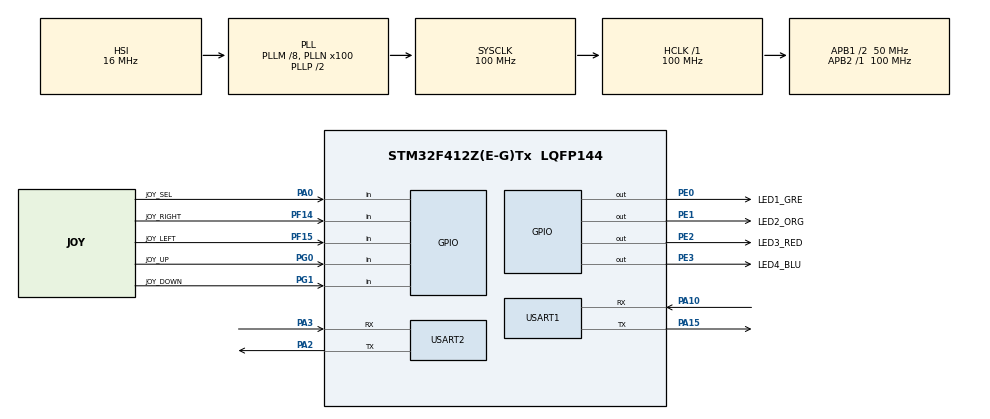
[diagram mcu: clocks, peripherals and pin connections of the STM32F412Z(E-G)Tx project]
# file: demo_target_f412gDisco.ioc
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Mcu.Family=STM32F4
Mcu.Name=STM32F412Z(E-G)Tx
Mcu.Package=LQFP144
NVIC.PriorityGroup=NVIC_PRIORITYGROUP_4
NVIC.USART1_IRQn=true\:0\:0\:false\:false\:true\:true\:true\:true
PA0.GPIO_Label=JOY_SEL
PA0.Signal=GPIO_Input
PA10.Mode=Asynchronous
PA10.Signal=USART1_RX
PA13.Mode=Trace_Asynchronous_SW
PA13.Signal=SYS_JTMS-SWDIO
PA14.Mode=Trace_Asynchronous_SW
PA14.Signal=SYS_JTCK-SWCLK
PA15.Mode=Asynchronous
PA15.Signal=USART1_TX
PA2.Mode=Asynchronous
PA2.Signal=USART2_TX
PA3.Mode=Asynchronous
PA3.Signal=USART2_RX
PB3.Mode=Trace_Asynchronous_SW
PB3.Signal=SYS_JTDO-SWO
PE0.GPIO_Label=LED1_GRE
PE0.Signal=GPIO_Output
PE1.GPIO_Label=LED2_ORG
PE1.Signal=GPIO_Output
PE2.GPIO_Label=LED3_RED
PE2.Signal=GPIO_Output
PE3.GPIO_Label=LED4_BLU
PE3.Signal=GPIO_Output
PF14.GPIO_Label=JOY_RIGHT
PF14.Signal=GPIO_Input
PF15.GPIO_Label=JOY_LEFT
PF15.Signal=GPIO_Input
PG0.GPIO_Label=JOY_UP
PG0.Signal=GPIO_Input
PG1.GPIO_Label=JOY_DOWN
PG1.Signal=GPIO_Input
PH0\ -\ OSC_IN.Mode=HSE-External-Oscillator
PH0\ -\ OSC_IN.Signal=RCC_OSC_IN
PH1\ -\ OSC_OUT.Mode=HSE-External-Oscillator
PH1\ -\ OSC_OUT.Signal=RCC_OSC_OUT
ProjectManager.HeapSize=0x200
ProjectManager.StackSize=0x400
ProjectManager.TargetToolchain=STM32CubeIDE
RCC.AHBFreq_Value=100000000
RCC.APB1CLKDivider=RCC_HCLK_DIV2
RCC.APB1Freq_Value=50000000
RCC.APB1TimFreq_Value=100000000
RCC.APB2Freq_Value=100000000
RCC.APB2TimFreq_Value=100000000
RCC.CortexFreq_Value=100000000
RCC.HCLKFreq_Value=100000000
RCC.HSE_VALUE=8000000
RCC.PLLM=8
RCC.PLLN=100
RCC.SYSCLKFreq_VALUE=100000000
RCC.SYSCLKSource=RCC_SYSCLKSOURCE_PLLCLK
RCC.USBFreq_Value=100000000
RCC.VCOOutputFreq_Value=200000000
USART1.VirtualMode=VM_ASYNC
USART2.VirtualMode=VM_ASYNC
board=custom

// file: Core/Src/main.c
/* USER CODE BEGIN Header */
/**
  ******************************************************************************
  * @file           : main.c
  * @brief          : Main program body
  ******************************************************************************
  * @attention
  *
  * <h2><center>&copy; Copyright (c) 2021 STMicroelectronics.
  * All rights reserved.</center></h2>
  *
  * This software component is licensed by ST under BSD 3-Clause license,
  * the "License"; You may not use this file except in compliance with the
  * License. You may obtain a copy of the License at:
  *                        opensource.org/licenses/BSD-3-Clause
  *
  ******************************************************************************
  */
/* USER CODE END Header */
#include "main.h"

/* USER CODE BEGIN Includes */
#include <stdio.h>
/* USER CODE END Includes */

/* USER CODE BEGIN PD */
#define JOY_BOUNCE_VAL 100
#define TEST_DATA_SIZE 10000
/* USER CODE END PD */

UART_HandleTypeDef huart1;
UART_HandleTypeDef huart2;

/* USER CODE BEGIN PV */
GPIO_TypeDef* joy_PORTS[] = {JOY_RIGHT_GPIO_Port, JOY_LEFT_GPIO_Port, JOY_UP_GPIO_Port, JOY_DOWN_GPIO_Port, JOY_SEL_GPIO_Port};
const uint16_t joy_PINS[] = {JOY_RIGHT_Pin, JOY_LEFT_Pin, JOY_UP_Pin, JOY_DOWN_Pin, JOY_SEL_Pin};

uint8_t joy_cnt[5];
uint32_t test_data[TEST_DATA_SIZE];  //0x20000128
/* USER CODE END PV */

void SystemClock_Config(void);
static void MX_GPIO_Init(void);
static void MX_USART2_UART_Init(void);
static void MX_USART1_UART_Init(void);
/* USER CODE BEGIN PFP */
void setup_TRACE(void);
void add_data_pattern(uint32_t* start,uint32_t size);
/* USER CODE END PFP */

int main(void)
{

  /* MCU Configuration--------------------------------------------------------*/

  /* Reset of all peripherals, Initializes the Flash interface and the Systick. */
  HAL_Init();

  /* USER CODE BEGIN Init */
  uint8_t data[] = "Hello world qwertzuiopasdfghjklyxcvbnm=+-*/123456789 ";
  uint8_t uart_sendonce_up = 0;
  uint8_t uart_sendonce_dwn = 0;

  /* USER CODE END Init */

  /* Configure the system clock */
  SystemClock_Config();

  /* Initialize all configured peripherals */
  MX_GPIO_Init();
  MX_USART2_UART_Init();
  MX_USART1_UART_Init();
  /* USER CODE BEGIN 2 */

  setup_TRACE();  //manual setup for testing wtih NYMD dap

  //turn off LEDs
  HAL_GPIO_WritePin( LED1_GRE_GPIO_Port,  LED1_GRE_Pin, GPIO_PIN_SET);
  HAL_GPIO_WritePin( LED2_ORG_GPIO_Port,  LED2_ORG_Pin, GPIO_PIN_RESET);   //offset LED2 for blinking effect
  HAL_GPIO_WritePin( LED3_RED_GPIO_Port,  LED3_RED_Pin, GPIO_PIN_SET);
  HAL_GPIO_WritePin( LED4_BLU_GPIO_Port,  LED4_BLU_Pin, GPIO_PIN_SET);

  printf(" Demo target for NYMD_DAP project.\r\n");

  add_data_pattern(test_data, TEST_DATA_SIZE);

  /* USER CODE END 2 */

  /* Infinite loop */
  /* USER CODE BEGIN WHILE */
  while (1)
  {

	  /* read buttons, right,left,up,down,center*/
	  for (int i=0; i<5; i++){
		  if (HAL_GPIO_ReadPin(joy_PORTS[i], joy_PINS[i]) && joy_cnt[i] < JOY_BOUNCE_VAL){
			  joy_cnt[i]++;
		  }else if (joy_cnt[i] > 0){
			  joy_cnt[i]--;
		  }
	  }

	  //joy up
	  if (joy_cnt[2] == JOY_BOUNCE_VAL){
		  HAL_GPIO_WritePin(LED1_GRE_GPIO_Port, LED1_GRE_Pin, GPIO_PIN_RESET);
		  if (uart_sendonce_up == 0){
			  HAL_UART_Transmit_IT(&huart1, data, 12);
			  uart_sendonce_up = 1;
		  }

	  }else if (joy_cnt[2] == 0 ){
		  HAL_GPIO_WritePin(LED1_GRE_GPIO_Port, LED1_GRE_Pin, GPIO_PIN_SET);
		  uart_sendonce_up = 0;
	  }

	  //joy down
	  if (joy_cnt[3] == JOY_BOUNCE_VAL){
		  HAL_GPIO_WritePin(LED3_RED_GPIO_Port, LED3_RED_Pin, GPIO_PIN_RESET);
		  if (uart_sendonce_dwn == 0){
			  HAL_UART_Transmit_IT(&huart1, data, 4);
			  uart_sendonce_dwn = 1;
		  }

	  }else if (joy_cnt[3] == 0 ){
		  HAL_GPIO_WritePin(LED3_RED_GPIO_Port, LED3_RED_Pin, GPIO_PIN_SET);
		  uart_sendonce_dwn = 0;
	  }

	  if((HAL_GetTick() % 500) <= 1){
		  HAL_GPIO_TogglePin( LED4_BLU_GPIO_Port,  LED4_BLU_Pin);
		  HAL_GPIO_TogglePin( LED2_ORG_GPIO_Port,  LED2_ORG_Pin);
		  HAL_UART_Transmit( &huart2,  data,  5,  1000 );
	  }

	  HAL_Delay(1);

    /* USER CODE END WHILE */

  }
}

void SystemClock_Config(void)
{
  RCC_OscInitTypeDef RCC_OscInitStruct = {0};
  RCC_ClkInitTypeDef RCC_ClkInitStruct = {0};

  /** Configure the main internal regulator output voltage
  */
  __HAL_RCC_PWR_CLK_ENABLE();
  __HAL_PWR_VOLTAGESCALING_CONFIG(PWR_REGULATOR_VOLTAGE_SCALE1);

  /** Initializes the RCC Oscillators according to the specified parameters
  * in the RCC_OscInitTypeDef structure.
  */
  RCC_OscInitStruct.OscillatorType = RCC_OSCILLATORTYPE_HSI;
  RCC_OscInitStruct.HSIState = RCC_HSI_ON;
  RCC_OscInitStruct.HSICalibrationValue = RCC_HSICALIBRATION_DEFAULT;
  RCC_OscInitStruct.PLL.PLLState = RCC_PLL_ON;
  RCC_OscInitStruct.PLL.PLLSource = RCC_PLLSOURCE_HSI;
  RCC_OscInitStruct.PLL.PLLM = 8;
  RCC_OscInitStruct.PLL.PLLN = 100;
  RCC_OscInitStruct.PLL.PLLP = RCC_PLLP_DIV2;
  RCC_OscInitStruct.PLL.PLLQ = 2;
  RCC_OscInitStruct.PLL.PLLR = 2;
  if (HAL_RCC_OscConfig(&RCC_OscInitStruct) != HAL_OK)
  {
    Error_Handler();
  }

  /** Initializes the CPU, AHB and APB buses clocks
  */
  RCC_ClkInitStruct.ClockType = RCC_CLOCKTYPE_HCLK|RCC_CLOCKTYPE_SYSCLK
                              |RCC_CLOCKTYPE_PCLK1|RCC_CLOCKTYPE_PCLK2;
  RCC_ClkInitStruct.SYSCLKSource = RCC_SYSCLKSOURCE_PLLCLK;
  RCC_ClkInitStruct.AHBCLKDivider = RCC_SYSCLK_DIV1;
  RCC_ClkInitStruct.APB1CLKDivider = RCC_HCLK_DIV2;
  RCC_ClkInitStruct.APB2CLKDivider = RCC_HCLK_DIV1;

  if (HAL_RCC_ClockConfig(&RCC_ClkInitStruct, FLASH_LATENCY_3) != HAL_OK)
  {
    Error_Handler();
  }
}

static void MX_USART1_UART_Init(void)
{

  huart1.Instance = USART1;
  huart1.Init.BaudRate = 115200;
  huart1.Init.WordLength = UART_WORDLENGTH_8B;
  huart1.Init.StopBits = UART_STOPBITS_1;
  huart1.Init.Parity = UART_PARITY_NONE;
  huart1.Init.Mode = UART_MODE_TX_RX;
  huart1.Init.HwFlowCtl = UART_HWCONTROL_NONE;
  huart1.Init.OverSampling = UART_OVERSAMPLING_16;
  if (HAL_UART_Init(&huart1) != HAL_OK)
  {
    Error_Handler();
  }

}

static void MX_USART2_UART_Init(void)
{

  huart2.Instance = USART2;
  huart2.Init.BaudRate = 115200;
  huart2.Init.WordLength = UART_WORDLENGTH_8B;
  huart2.Init.StopBits = UART_STOPBITS_1;
  huart2.Init.Parity = UART_PARITY_NONE;
  huart2.Init.Mode = UART_MODE_TX_RX;
  huart2.Init.HwFlowCtl = UART_HWCONTROL_NONE;
  huart2.Init.OverSampling = UART_OVERSAMPLING_16;
  if (HAL_UART_Init(&huart2) != HAL_OK)
  {
    Error_Handler();
  }

}

static void MX_GPIO_Init(void)
{
  GPIO_InitTypeDef GPIO_InitStruct = {0};

  /* GPIO Ports Clock Enable */
  __HAL_RCC_GPIOE_CLK_ENABLE();
  __HAL_RCC_GPIOH_CLK_ENABLE();
  __HAL_RCC_GPIOA_CLK_ENABLE();
  __HAL_RCC_GPIOF_CLK_ENABLE();
  __HAL_RCC_GPIOG_CLK_ENABLE();
  __HAL_RCC_GPIOB_CLK_ENABLE();

  /*Configure GPIO pin Output Level */
  HAL_GPIO_WritePin(GPIOE, LED3_RED_Pin|LED4_BLU_Pin|LED1_GRE_Pin|LED2_ORG_Pin, GPIO_PIN_RESET);

  /*Configure GPIO pins : LED3_RED_Pin LED4_BLU_Pin LED1_GRE_Pin LED2_ORG_Pin */
  GPIO_InitStruct.Pin = LED3_RED_Pin|LED4_BLU_Pin|LED1_GRE_Pin|LED2_ORG_Pin;
  GPIO_InitStruct.Mode = GPIO_MODE_OUTPUT_PP;
  GPIO_InitStruct.Pull = GPIO_NOPULL;
  GPIO_InitStruct.Speed = GPIO_SPEED_FREQ_LOW;
  HAL_GPIO_Init(GPIOE, &GPIO_InitStruct);

  /*Configure GPIO pin : JOY_SEL_Pin */
  GPIO_InitStruct.Pin = JOY_SEL_Pin;
  GPIO_InitStruct.Mode = GPIO_MODE_INPUT;
  GPIO_InitStruct.Pull = GPIO_NOPULL;
  HAL_GPIO_Init(JOY_SEL_GPIO_Port, &GPIO_InitStruct);

  /*Configure GPIO pins : JOY_RIGHT_Pin JOY_LEFT_Pin */
  GPIO_InitStruct.Pin = JOY_RIGHT_Pin|JOY_LEFT_Pin;
  GPIO_InitStruct.Mode = GPIO_MODE_INPUT;
  GPIO_InitStruct.Pull = GPIO_NOPULL;
  HAL_GPIO_Init(GPIOF, &GPIO_InitStruct);

  /*Configure GPIO pins : JOY_UP_Pin JOY_DOWN_Pin */
  GPIO_InitStruct.Pin = JOY_UP_Pin|JOY_DOWN_Pin;
  GPIO_InitStruct.Mode = GPIO_MODE_INPUT;
  GPIO_InitStruct.Pull = GPIO_NOPULL;
  HAL_GPIO_Init(GPIOG, &GPIO_InitStruct);

}

/* USER CODE BEGIN 4 */

int __io_putchar(int ch){
	ITM_SendChar(ch);
	return ch;
}

void setup_TRACE(void){
  uint32_t cpuCoreFreqHz = 100000000; // 100 MHz
  uint32_t SWOSpeed = 115200; // 115200 baud rate
  uint32_t SWOPrescaler = (cpuCoreFreqHz / SWOSpeed) - 1;

  CoreDebug->DEMCR |= CoreDebug_DEMCR_TRCENA_Msk; // DWT and ITM global enable
  DBGMCU->CR |= DBGMCU_CR_TRACE_IOEN; // STM32F429 MCU specific Trace enable

  DWT->FUNCTION0 = 0x0000002F;
  // Generate Data trace data value packet on write accesses
  DWT->COMP0 = (uint32_t)&joy_cnt[2]; // Holds the observed address

  TPI->ACPR = SWOPrescaler; // Setting the prescaler for the wished baudrate
  TPI->SPPR = 2;

  // Selected Pin Protocol register[1:0] = NRZ coding selected
  ITM->LAR = 0xC5ACCE55; // Lock Access Register, Value required to unlock : 0xC5ACCE55
  while (((ITM->TCR & 0x00800000) == 0x00800000) == 1) // Wait until the ITM becomes inactive
  {
    HAL_Delay(1000);
    // polling
  }
  /* Trace Control Register: TSPrescale bits[9:8] = SYS CLK division by 64 ;
    TXENA bit[3]: = 1 enable forwarding of DWT packets;
    TSENA bit[1] = 1 enable local timestamp generation; ITMENA bit[0] = 1 enable ITM */

  ITM->TCR = 0x0000030B;
  ITM->TER = 0xFFFFFFFF; // Trace Enable Register: All ports enabled
}

void add_data_pattern(uint32_t* array, uint32_t size){
	for (uint32_t idx=0;idx<size;idx++){
		array[idx] = idx;
	}

}
/* USER CODE END 4 */

void Error_Handler(void)
{
  __disable_irq();
  while (1)
  {
  }
}
